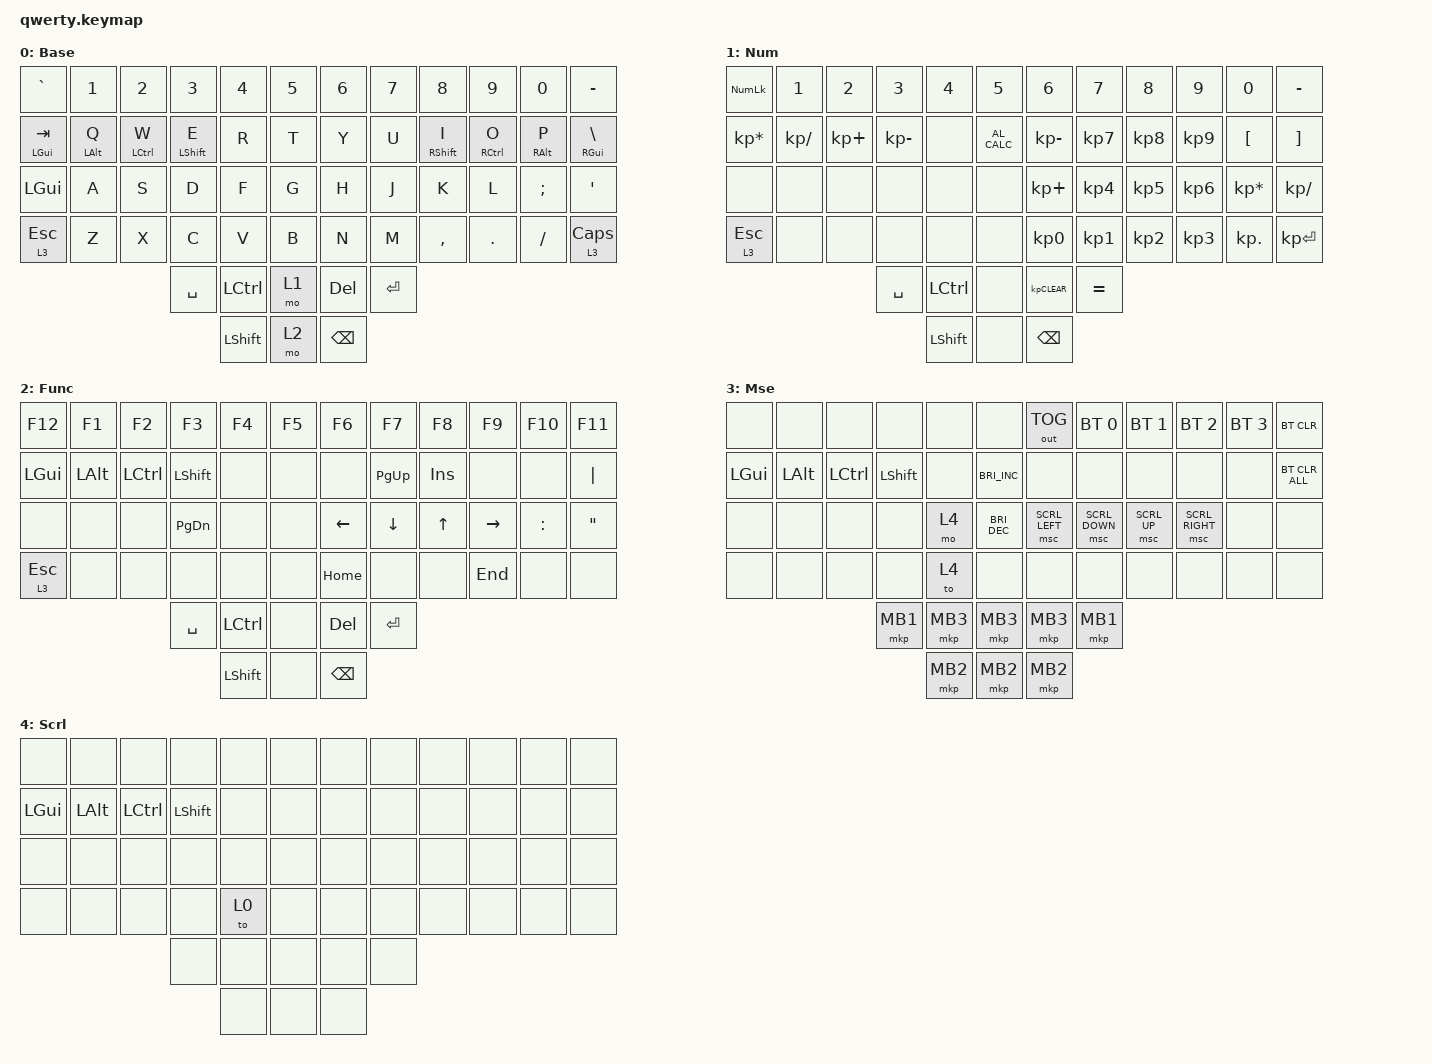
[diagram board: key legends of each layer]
/* upstream bindings and behaviors */
#include <behaviors.dtsi>
#include <dt-bindings/zmk/bt.h>
#include <dt-bindings/zmk/keys.h>
#include <dt-bindings/zmk/mouse.h>
#include <dt-bindings/zmk/outputs.h>
#include <behaviors/mouse_keys.dtsi>
#include <dt-bindings/zmk/ext_power.h>

/* local overlays */
#include "keymap_features/macros.dtsi"
#include "keymap_features/behaviors.dtsi"
#include "keymap_features/combos.dtsi"

/ {
    /* --- KEYMAP CONFIG --- */
    // ╭──────┬──────┬──────┬──────┬──────┬──────╮  ╭──────┬──────┬──────┬──────┬──────┬──────╮
    //    00     01     02     03    04      05        06     07     08     09     10     11
    // ├──────┼──────┼──────┼──────┼──────┼──────┤  ├──────┼──────┼──────┼──────┼──────┼──────┤
    //    12     13     14     15    16      17        18     19     20     21     22     23
    // ├──────┼──────┼──────┼──────┼──────┼──────┤  ├──────┼──────┼──────┼──────┼──────┼──────┤
    //    24     25     26     27    28      29        30     31     32     33     34     35
    // ├──────┼──────┼──────┼──────┼──────┼──────┤  ├──────┼──────┼──────┼──────┼──────┼──────┤
    //    36     37     38     39    40      41        42     43     44     45     46     47
    // ╰──────┴──────┴──────┼──────┼──────┼──────┤  ├──────┼──────┼──────┴──────┴──────┴──────╯
    //                         48     49     50        51     52
    //                      ╰──────┼──────┼──────┤  ├──────┼──────╯
    //                                53     54        55  
    //                             ╰──────┴──────╯  ╰──────╯
    // #define BASE    0
    // #define NUM     1
    // #define FUNC    2
    // #define MOUSE   3
    // #define SCROLL  4

    // This shared keymap builds for prospector and non-prospector firmwares. 
    // This stubs the key bindings that are contained in the prospector module
    // so non-prospector firmware can build.
    #ifndef CONFIG_SHIELD_PROSPECTOR_ADAPTER
        behaviors {
            /omit-if-no-ref/ pbl: prospector_brightness_stub {
                compatible = "zmk,behavior-macro-two-param";
                #binding-cells = <2>;
                bindings = <&none>;
            };
        };
    #endif

    keymap {
        compatible = "zmk,keymap";
        BASE {
            display-name = "Base";
            bindings = <
&kp GRAVE          &kp N1            &kp N2             &kp N3               &kp N4      &kp N5          &kp N6         &kp N7              &kp N8             &kp N9            &kp N0                    &kp MINUS
&ht_left LGUI TAB  &ht_left LALT Q   &ht_left LCTRL W   &ht_left LSHIFT E    &kp R       &kp T           &kp Y          &kp U               &ht_right RSHIFT I &ht_right RCTRL O &ht_right RALT P          &ht_right RGUI BACKSLASH
&kp LGUI           &kp A             &kp S              &kp D                &kp F       &kp G           &kp H          &kp J               &kp K              &kp L             &kp SEMICOLON             &kp SINGLE_QUOTE
&lt 3 ESCAPE       &kp Z             &kp X              &kp C                &kp V       &kp B           &kp N          &kp M               &kp COMMA          &kp DOT           &kp SLASH                 &lt 3 CAPSLOCK
                                                        &kp SPACE            &kp LCTRL   &mo 1           &kp DELETE     &kp ENTER
                                                                             &kp LSHIFT  &mo 2           &kp BACKSPACE
            >;
        };

        NUM {
            display-name = "Num";
            bindings = <
&kp KP_NUM       &kp N1           &kp N2         &kp N3            &kp N4            &kp N5         &kp N6           &kp N7        &kp N8     &kp N9     &kp N0            &kp MINUS
&kp KP_MULTIPLY  &kp KP_DIVIDE    &kp KP_PLUS    &kp KP_SUBTRACT   &none             &kp C_AL_CALC  &kp KP_SUBTRACT  &kp KP_N7     &kp KP_N8  &kp KP_N9  &kp LEFT_BRACKET  &kp RIGHT_BRACKET
&none            &none            &none          &none             &none             &none          &kp KP_PLUS      &kp KP_N4     &kp KP_N5  &kp KP_N6  &kp KP_MULTIPLY   &kp KP_DIVIDE
&lt 3 ESCAPE     &none            &none          &none             &none             &none          &kp KP_N0        &kp KP_N1     &kp KP_N2  &kp KP_N3  &kp KP_DOT        &kp KP_ENTER
                                                 &kp SPACE         &kp LEFT_CONTROL  &none          &kp KP_CLEAR     &kp EQUAL
                                                                   &kp LEFT_SHIFT    &none          &kp BACKSPACE
            >;
        };

        FUNC {
            display-name = "Func";
            bindings = <
&kp F12          &kp F1           &kp F2      &kp F3         &kp F4            &kp F5              &kp F6         &kp F7       &kp F8     &kp F9      &kp F10    &kp F11
&kp LGUI         &kp LALT         &kp LCTRL   &kp LSHIFT     &none             &none               &none          &kp PAGE_UP  &kp INSERT &none       &none      &kp PIPE
&none            &none            &none       &kp PAGE_DOWN  &none             &none               &kp LEFT       &kp DOWN     &kp UP     &kp RIGHT   &kp COLON  &kp DQT
&lt 3 ESCAPE     &none            &none       &none          &none             &none               &kp HOME       &none        &none      &kp END     &none      &none
                                              &kp SPACE      &kp LEFT_CONTROL  &none               &kp DELETE     &kp ENTER
                                                             &kp LEFT_SHIFT    &none               &kp BACKSPACE
            >;
        };

        MOUSE {
            display-name = "Mse";
            bindings = <
&none           &none         &none         &none         &none              &none                 &out OUT_TOG     &bt BT_SEL 0     &bt BT_SEL 1  &bt BT_SEL 2    &bt BT_SEL 3  &bt BT_CLR
&kp LGUI        &kp LALT      &kp LCTRL     &kp LSHIFT    &none              &kp C_BRIGHTNESS_INC  &none            &none            &none         &none           &none         &bt BT_CLR_ALL
&none           &none         &none         &none         &mo 4              &kp C_BRIGHTNESS_DEC  &msc SCRL_LEFT   &msc SCRL_DOWN   &msc SCRL_UP  &msc SCRL_RIGHT &none         &none
&none           &none         &none         &none         &to 4              &none                 &none            &none            &none         &none           &none         &none
                                            &mkp MB1      &mkp MB3           &mkp MB3              &mkp MB3         &mkp MB1
                                                          &mkp MB2           &mkp MB2              &mkp MB2
            >;
        };

        SCROLL {
            display-name = "Scrl";
            bindings = <
&none    &none     &none      &none       &none     &none    &none  &none  &none  &none  &none  &none
&kp LGUI &kp LALT  &kp LCTRL  &kp LSHIFT  &none     &none    &none  &none  &none  &none  &none  &none
&none    &none     &none      &none       &none     &none    &none  &none  &none  &none  &none  &none
&none    &none     &none      &none       &to 0     &none    &none  &none  &none  &none  &none  &none
                              &none       &none     &none    &none  &none
                                          &none     &none    &none
            >;
        };
    };
};
